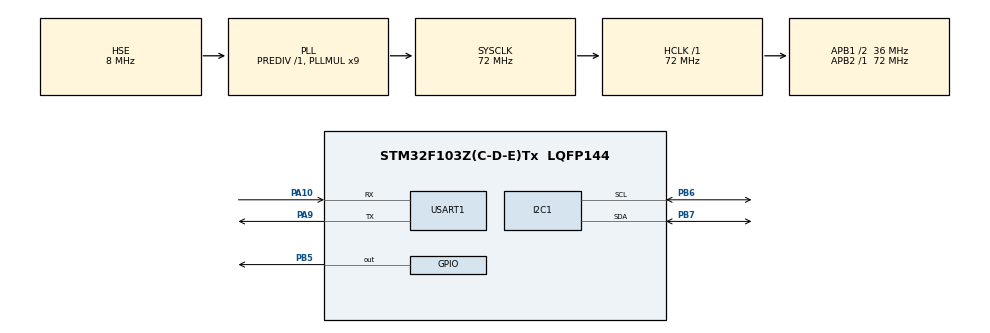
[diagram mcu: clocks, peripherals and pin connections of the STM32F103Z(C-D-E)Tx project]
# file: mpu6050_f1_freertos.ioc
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FREERTOS.Tasks01=defaultTask,24,128,StartDefaultTask,Default,NULL,Dynamic,NULL,NULL;myTask02,8,128,StartTask02,Default,NULL,Dynamic,NULL,NULL
Mcu.Family=STM32F1
Mcu.Name=STM32F103Z(C-D-E)Tx
Mcu.Package=LQFP144
NVIC.PriorityGroup=NVIC_PRIORITYGROUP_4
NVIC.TIM8_UP_IRQn=true\:15\:0\:false\:false\:true\:false\:false\:true\:true
NVIC.TimeBase=TIM8_UP_IRQn
NVIC.TimeBaseIP=TIM8
OSC_IN.Mode=HSE-External-Oscillator
OSC_IN.Signal=RCC_OSC_IN
OSC_OUT.Mode=HSE-External-Oscillator
OSC_OUT.Signal=RCC_OSC_OUT
PA10.Mode=Asynchronous
PA10.Signal=USART1_RX
PA13.Mode=JTAG_4_pins
PA13.Signal=SYS_JTMS-SWDIO
PA14.Mode=JTAG_4_pins
PA14.Signal=SYS_JTCK-SWCLK
PA15.Mode=JTAG_4_pins
PA15.Signal=SYS_JTDI
PA9.Mode=Asynchronous
PA9.Signal=USART1_TX
PB3.Mode=JTAG_4_pins
PB3.Signal=SYS_JTDO-TRACESWO
PB5.Signal=GPIO_Output
PB6.Mode=I2C
PB6.Signal=I2C1_SCL
PB7.Mode=I2C
PB7.Signal=I2C1_SDA
ProjectManager.HeapSize=0x200
ProjectManager.StackSize=0x400
ProjectManager.TargetToolchain=MDK-ARM V5.32
RCC.AHBFreq_Value=72000000
RCC.APB1CLKDivider=RCC_HCLK_DIV2
RCC.APB1Freq_Value=36000000
RCC.APB1TimFreq_Value=72000000
RCC.APB2Freq_Value=72000000
RCC.APB2TimFreq_Value=72000000
RCC.HCLKFreq_Value=72000000
RCC.PLLMUL=RCC_PLL_MUL9
RCC.PLLSourceVirtual=RCC_PLLSOURCE_HSE
RCC.SYSCLKFreq_VALUE=72000000
RCC.SYSCLKSource=RCC_SYSCLKSOURCE_PLLCLK
RCC.USBFreq_Value=72000000
USART1.VirtualMode=VM_ASYNC
VP_FREERTOS_VS_CMSIS_V2.Mode=CMSIS_V2
VP_SYS_VS_tim8.Mode=TIM8
board=custom

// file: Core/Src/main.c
/* USER CODE BEGIN Header */
/**
  ******************************************************************************
  * @file           : main.c
  * @brief          : Main program body
  ******************************************************************************
  * @attention
  *
  * Copyright (c) 2025 STMicroelectronics.
  * All rights reserved.
  *
  * This software is licensed under terms that can be found in the LICENSE file
  * in the root directory of this software component.
  * If no LICENSE file comes with this software, it is provided AS-IS.
  *
  ******************************************************************************
  */
/* USER CODE END Header */
#include "main.h"
#include "cmsis_os.h"
#include "i2c.h"
#include "usart.h"
#include "gpio.h"
#include "mpu6050.h"

void SystemClock_Config(void);
void MX_FREERTOS_Init(void);

int main(void)
{

  /* MCU Configuration--------------------------------------------------------*/

  /* Reset of all peripherals, Initializes the Flash interface and the Systick. */
  HAL_Init();

  /* Configure the system clock */
  SystemClock_Config();

  /* Initialize all configured peripherals */
  MX_GPIO_Init();
  MX_I2C1_Init();
  MX_USART1_UART_Init();
  /* USER CODE BEGIN 2 */
  MPU6050_Init(); // Initialize MPU6050 sensor
  /* USER CODE END 2 */

  /* Init scheduler */
  osKernelInitialize();

  /* Call init function for freertos objects (in cmsis_os2.c) */
  MX_FREERTOS_Init();

  /* Start scheduler */
  osKernelStart();

  /* We should never get here as control is now taken by the scheduler */

  /* Infinite loop */
  while (1)
  {

  }
}

void SystemClock_Config(void)
{
  RCC_OscInitTypeDef RCC_OscInitStruct = {0};
  RCC_ClkInitTypeDef RCC_ClkInitStruct = {0};

  /** Initializes the RCC Oscillators according to the specified parameters
  * in the RCC_OscInitTypeDef structure.
  */
  RCC_OscInitStruct.OscillatorType = RCC_OSCILLATORTYPE_HSE;
  RCC_OscInitStruct.HSEState = RCC_HSE_ON;
  RCC_OscInitStruct.HSEPredivValue = RCC_HSE_PREDIV_DIV1;
  RCC_OscInitStruct.HSIState = RCC_HSI_ON;
  RCC_OscInitStruct.PLL.PLLState = RCC_PLL_ON;
  RCC_OscInitStruct.PLL.PLLSource = RCC_PLLSOURCE_HSE;
  RCC_OscInitStruct.PLL.PLLMUL = RCC_PLL_MUL9;
  if (HAL_RCC_OscConfig(&RCC_OscInitStruct) != HAL_OK)
  {
    Error_Handler();
  }

  /** Initializes the CPU, AHB and APB buses clocks
  */
  RCC_ClkInitStruct.ClockType = RCC_CLOCKTYPE_HCLK|RCC_CLOCKTYPE_SYSCLK
                              |RCC_CLOCKTYPE_PCLK1|RCC_CLOCKTYPE_PCLK2;
  RCC_ClkInitStruct.SYSCLKSource = RCC_SYSCLKSOURCE_PLLCLK;
  RCC_ClkInitStruct.AHBCLKDivider = RCC_SYSCLK_DIV1;
  RCC_ClkInitStruct.APB1CLKDivider = RCC_HCLK_DIV2;
  RCC_ClkInitStruct.APB2CLKDivider = RCC_HCLK_DIV1;

  if (HAL_RCC_ClockConfig(&RCC_ClkInitStruct, FLASH_LATENCY_2) != HAL_OK)
  {
    Error_Handler();
  }
}

void HAL_TIM_PeriodElapsedCallback(TIM_HandleTypeDef *htim)
{
  if (htim->Instance == TIM8) {
    HAL_IncTick();
  }
}

void Error_Handler(void)
{
  __disable_irq();
  while (1)
  {
  }
}

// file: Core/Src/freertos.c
/* USER CODE BEGIN Header */
/**
  ******************************************************************************
  * File Name          : freertos.c
  * Description        : Code for freertos applications
  ******************************************************************************
  * @attention
  *
  * Copyright (c) 2025 STMicroelectronics.
  * All rights reserved.
  *
  * This software is licensed under terms that can be found in the LICENSE file
  * in the root directory of this software component.
  * If no LICENSE file comes with this software, it is provided AS-IS.
  *
  ******************************************************************************
  */
/* USER CODE END Header */

#include "FreeRTOS.h"
#include "task.h"
#include "main.h"
#include "cmsis_os.h"

/* USER CODE BEGIN Includes */
#include "mpu6050.h"
/* USER CODE END Includes */

/* USER CODE BEGIN Variables */
static BaseType_t taskExecuted = pdFALSE; // Variable to check if task has executed

/* USER CODE END Variables */
/* Definitions for defaultTask */
osThreadId_t defaultTaskHandle;
const osThreadAttr_t defaultTask_attributes = {
  .name = "defaultTask",
  .stack_size = 128 * 4,
  .priority = (osPriority_t) osPriorityNormal,
};
/* Definitions for myTask02 */
osThreadId_t myTask02Handle;
const osThreadAttr_t myTask02_attributes = {
  .name = "myTask02",
  .stack_size = 128 * 4,
  .priority = (osPriority_t) osPriorityLow,
};

void StartDefaultTask(void *argument);
void StartTask02(void *argument);

void MX_FREERTOS_Init(void); /* (MISRA C 2004 rule 8.1) */

void MX_FREERTOS_Init(void) {

  /* Create the thread(s) */
  /* creation of defaultTask */
  defaultTaskHandle = osThreadNew(StartDefaultTask, NULL, &defaultTask_attributes);

  /* creation of myTask02 */
  myTask02Handle = osThreadNew(StartTask02, NULL, &myTask02_attributes);

}

void StartDefaultTask(void *argument)
{
  /* USER CODE BEGIN StartDefaultTask */
  /* Infinite loop */
  for(;;)
  {
    HAL_GPIO_TogglePin(GPIOB, GPIO_PIN_5); // Toggle GPIO pin PB5
    osDelay(1000);
  }
  /* USER CODE END StartDefaultTask */
}

void StartTask02(void *argument)
{
  /* USER CODE BEGIN StartTask02 */
  /* Infinite loop */
  for(;;)
  {
    double accel_x, accel_y, accel_z;
    double gyro_x, gyro_y, gyro_z;
    double roll, pitch, yaw;

    // Initialize variables for accelerometer and gyroscope data
    double temperature;
    uint32_t tick;
    if(taskExecuted == pdFALSE) {
      MPU6050_Gyro_Calibrate(); // Calibrate gyroscope
      taskExecuted = pdTRUE; // Set the flag to indicate the task has executed
    }

    //MPU6050_Init(); // Initialize MPU6050 sensor
    osDelay(50);
    // MPU6050_Read_Accel(&accel_x, &accel_y, &accel_z); // Read accelerometer data
    // MPU6050_Read_Gyro(&gyro_x, &gyro_y, &gyro_z); // Read gyroscope data
    // printf("Gyro:%.2f,%.2f,%.2f\r\n", gyro_x, gyro_y, gyro_z);
    MPU6050_Get_Euler_By_Accel_Gyro(&roll, &pitch, &yaw); // Get Euler angles from accelerometer and gyroscope
    printf("Roll,Pitch,Yaw:%.4f,%.4f,%.4f\r\n", roll, pitch, yaw);
  }
  /* USER CODE END StartTask02 */
}
